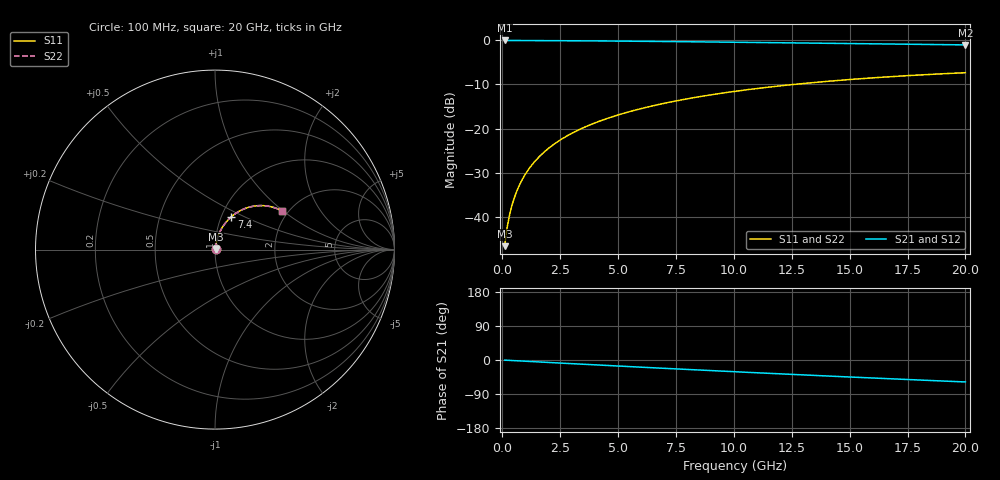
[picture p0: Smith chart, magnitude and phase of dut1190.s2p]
! Touchstone file exported from HFSS 2026.1.0
!  File:  C:/ffzhzh/LocalFiles/Ansys_Project_Files/temp_train_BSMRDL_1190_1783176304_55132.aedt
!  Generated:  10:46:23 PM Jul  4, 2026
!  Design:  BSMRDL
!  Project:  temp_train_BSMRDL_1190_1783176304_55132
! Variables:
!  h_bsmrdl = 5.79um
!  h_ox = 20um
!  h_rdl = 5um
!  h_sub = 80um
!  h_tmrdl = 5um
!  h_tsv = 80um
!  h_via = 3um
!  l_bsmrdl = 950.66um
!  l_sub = 1350.66um
!  l_tmrdl = 200um
!  m_sub = 200um
!  pitch = 40.54um
!  r_tsv = 6um
!  s_tmrdl = 10um
!  w_bsmrdl = 18.3um
!  w_sub = 500um
!  w_tmrdl = 12um
!  x_tsv_center1 = 206um
!  x_tsv_center2 = 1174.96um
!  x_tsv_center3 = 1386.96um
!  x_tsv_center4 = 2355.92um
!  x_tsv_center5 = 2567.92um
!  x_tsv_center6 = 3536.88um
# GHz S MA R 50.000000
! Terminal data exported
! Port[1] = BSM_RDL1_1_T1
! Port[2] = BSM_RDL1_1_T2
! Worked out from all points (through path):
!   200 points, 100 MHz to 20 GHz, reference 50 ohm
!   highest |S21| = -0.03 dB at 100 MHz (marker M1); lowest = -1.0 dB at 20 GHz (marker M2)
!   group delay of S21, straight-line fit = 8.04 ps
!   lowest |S11| = -46.6 dB at 100 MHz (marker M3), VSWR 1.01, Z = 50.3 + j0.33 ohm
!   |S11| at or under -10 dB: start of sweep to 12.57 GHz
!   |S22| runs from -46.6 to -7.3 dB; largest |S21 - S12| = 1.2e-14
!   S11 on the Smith chart (normalised r, x): 100 MHz: 1.01, +0.01; 7.4 GHz: 1.11, +0.42; 20 GHz: 1.85, +0.98
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0.1  0.004673 44.5  0.9967 -0.3  0.9967 -0.3  0.004673 44.5
! Gamma 0 0 0 0
! Port Impedance 50 0 50 0
0.2  0.007342 60.7  0.9965 -0.7  0.9965 -0.7  0.007342 60.7
0.3  0.01018 67.7  0.9963 -1.0  0.9963 -1.0  0.01018 67.7
0.4  0.01305 71.5  0.9961 -1.3  0.9961 -1.3  0.01305 71.5
0.5  0.01594 74.0  0.9959 -1.7  0.9959 -1.7  0.01594 74.0
0.6  0.01886 75.6  0.9958 -2.0  0.9958 -2.0  0.01886 75.6
0.8  0.02473 77.6  0.9955 -2.6  0.9955 -2.6  0.02473 77.6
1.1  0.03358 78.8  0.995 -3.6  0.995 -3.6  0.03358 78.8
1.5  0.04536 79.0  0.9942 -4.9  0.9942 -4.9  0.04536 79.0
1.8  0.05414 78.6  0.9934 -5.9  0.9934 -5.9  0.05414 78.7
2.1  0.06286 78.1  0.9925 -6.8  0.9925 -6.8  0.06286 78.1
2.7  0.08005 76.7  0.9905 -8.7  0.9905 -8.7  0.08005 76.7
3.5  0.1025 74.6  0.9874 -11.3  0.9874 -11.3  0.1024 74.6
4.2  0.1216 72.7  0.9844 -13.4  0.9844 -13.4  0.1216 72.7
5  0.1429 70.4  0.9807 -15.9  0.9807 -15.9  0.1429 70.4
6.8  0.1889 65.3  0.9713 -21.4  0.9713 -21.4  0.1889 65.4
7.4  0.2036 63.7  0.9679 -23.2  0.9679 -23.2  0.2036 63.7
8.7  0.2344 60.0  0.9602 -27.1  0.9602 -27.1  0.2344 60.0
10.1  0.2657 56.1  0.9514 -31.2  0.9514 -31.2  0.2657 56.2
13.4  0.3319 47.2  0.9295 -40.5  0.9295 -40.5  0.3319 47.2
16.7  0.3866 38.5  0.9078 -49.4  0.9078 -49.4  0.3866 38.6
20  0.4301 30.2  0.888 -58.0  0.888 -58.0  0.43 30.3
